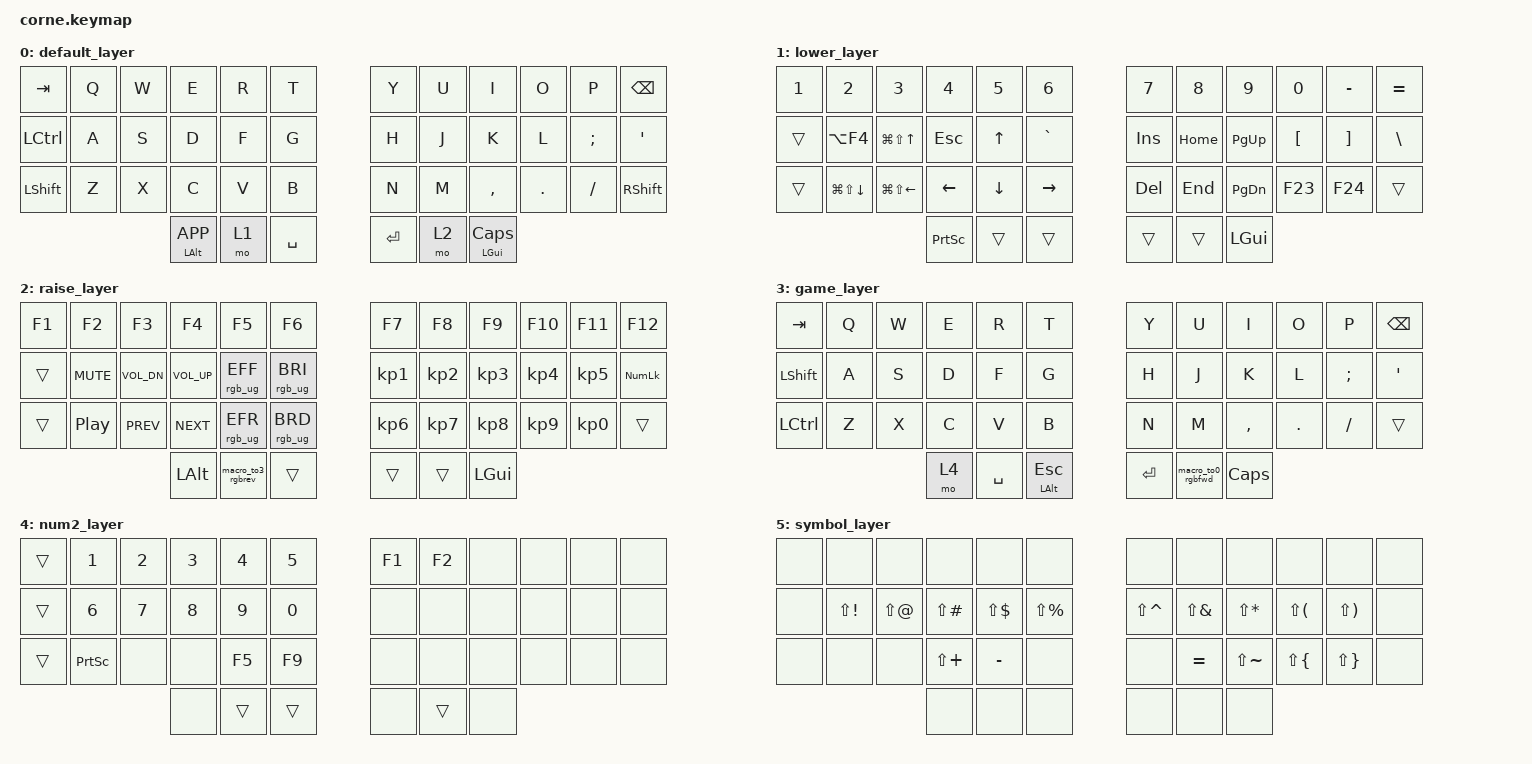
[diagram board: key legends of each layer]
/*
 * Автоматически сконвертировано из Vial (.vil) в ZMK.
 * Проверьте раскладку перед прошивкой!
 */

#include <dt-bindings/zmk/mouse.h>
#include <behaviors.dtsi>
#include <dt-bindings/zmk/keys.h>
#include <dt-bindings/zmk/rgb.h>

/ {
    behaviors {
        // Home row mod для ЛЕВОЙ руки: срабатывает как модификатор только
        // если параллельно нажата клавиша ПРАВОЙ руки (positional hold-tap).
        // Это убирает случайные срабатывания при быстром наборе одной рукой.
        // Зеркальный home row mod для ПРАВОЙ руки.
    };

    macros {
        macro_to3_rgbrev: macro_to3_rgbrev {
            compatible = "zmk,behavior-macro";
            #binding-cells = <0>;
            bindings = <&to 3 &rgb_ug RGB_EFR>;
        };

        macro_to0_rgbfwd: macro_to0_rgbfwd {
            compatible = "zmk,behavior-macro";
            #binding-cells = <0>;
            bindings = <&rgb_ug RGB_EFF &to 0>;
        };
    };

    combos {
        compatible = "zmk,combos";

        left-shift {
            bindings = <&kp LEFT_SHIFT>;
            key-positions = <15 14>;
            require-prior-idle-ms = <150>;
            layers = <0 1 2>;
        };

        right-shift {
            bindings = <&kp RSHIFT>;
            key-positions = <20 21>;
            require-prior-idle-ms = <150>;
            layers = <0 1 2>;
        };

        symbols-right {
            bindings = <&mo 5>;
            key-positions = <20 19>;
            layers = <0>;
        };

        symbols-left {
            bindings = <&mo 5>;
            key-positions = <15 16>;
            layers = <0>;
        };
    };

    keymap {
        compatible = "zmk,keymap";

        default_layer {
            bindings = <
&kp TAB    &kp Q  &kp W  &kp E           &kp R  &kp T        &kp Y    &kp U  &kp I          &kp O    &kp P     &kp BSPC
&kp LCTRL  &kp A  &kp S  &kp D           &kp F  &kp G        &kp H    &kp J  &kp K          &kp L    &kp SEMI  &kp SQT
&kp LSHFT  &kp Z  &kp X  &kp C           &kp V  &kp B        &kp N    &kp M  &kp COMMA      &kp DOT  &kp FSLH  &kp RSHFT
                         &mt LALT K_APP  &mo 1  &kp SPACE    &kp RET  &mo 2  &mt LGUI CAPS
            >;
        };

        lower_layer {
            bindings = <
&kp N1  &kp N2            &kp N3            &kp N4     &kp N5    &kp N6       &kp N7   &kp N8    &kp N9     &kp N0    &kp MINUS  &kp EQUAL
&trans  &kp LA(F4)        &kp LG(LS(UP))    &kp ESC    &kp UP    &kp GRAVE    &kp INS  &kp HOME  &kp PG_UP  &kp LBKT  &kp RBKT   &kp BSLH
&trans  &kp LG(LS(DOWN))  &kp LG(LS(LEFT))  &kp LEFT   &kp DOWN  &kp RIGHT    &kp DEL  &kp END   &kp PG_DN  &kp F23   &kp F24    &trans
                                            &kp PSCRN  &trans    &trans       &trans   &trans    &kp LGUI
            >;
        };

        raise_layer {
            bindings = <
&kp F1  &kp F2      &kp F3        &kp F4        &kp F5             &kp F6             &kp F7     &kp F8     &kp F9     &kp F10    &kp F11    &kp F12
&trans  &kp C_MUTE  &kp C_VOL_DN  &kp C_VOL_UP  &rgb_ug RGB_EFF    &rgb_ug RGB_BRI    &kp KP_N1  &kp KP_N2  &kp KP_N3  &kp KP_N4  &kp KP_N5  &kp KP_NUM
&trans  &kp C_PP    &kp C_PREV    &kp C_NEXT    &rgb_ug RGB_EFR    &rgb_ug RGB_BRD    &kp KP_N6  &kp KP_N7  &kp KP_N8  &kp KP_N9  &kp KP_N0  &trans
                                  &kp LALT      &macro_to3_rgbrev  &trans             &trans     &trans     &kp LGUI
            >;
        };

        game_layer {
            bindings = <
&kp TAB    &kp Q  &kp W  &kp E  &kp R      &kp T               &kp Y    &kp U              &kp I      &kp O    &kp P     &kp BSPC
&kp LSHFT  &kp A  &kp S  &kp D  &kp F      &kp G               &kp H    &kp J              &kp K      &kp L    &kp SEMI  &kp SQT
&kp LCTRL  &kp Z  &kp X  &kp C  &kp V      &kp B               &kp N    &kp M              &kp COMMA  &kp DOT  &kp FSLH  &trans
                         &mo 4  &kp SPACE  &mt LEFT_ALT ESC    &kp RET  &macro_to0_rgbfwd  &kp CAPS
            >;
        };

        num2_layer {
            bindings = <
&trans  &kp N1     &kp N2  &kp N3  &kp N4  &kp N5    &kp F1  &kp F2  &none  &none  &none  &none
&trans  &kp N6     &kp N7  &kp N8  &kp N9  &kp N0    &none   &none   &none  &none  &none  &none
&trans  &kp PSCRN  &none   &none   &kp F5  &kp F9    &none   &none   &none  &none  &none  &none
                           &none   &trans  &trans    &none   &trans  &none
            >;
        };

        symbol_layer {
            bindings = <
&none  &none         &none       &none          &none         &none            &none          &none         &none          &none         &none         &none
&none  &kp LS(EXCL)  &kp LS(AT)  &kp LS(POUND)  &kp LS(DLLR)  &kp LS(PRCNT)    &kp LS(CARET)  &kp LS(AMPS)  &kp LS(STAR)   &kp LS(LPAR)  &kp LS(RPAR)  &none
&none  &none         &none       &kp LS(PLUS)   &kp MINUS     &none            &none          &kp EQUAL     &kp LS(TILDE)  &kp LS(LBRC)  &kp LS(RBRC)  &none
                                 &none          &none         &none            &none          &none         &none
            >;
        };
    };
};
